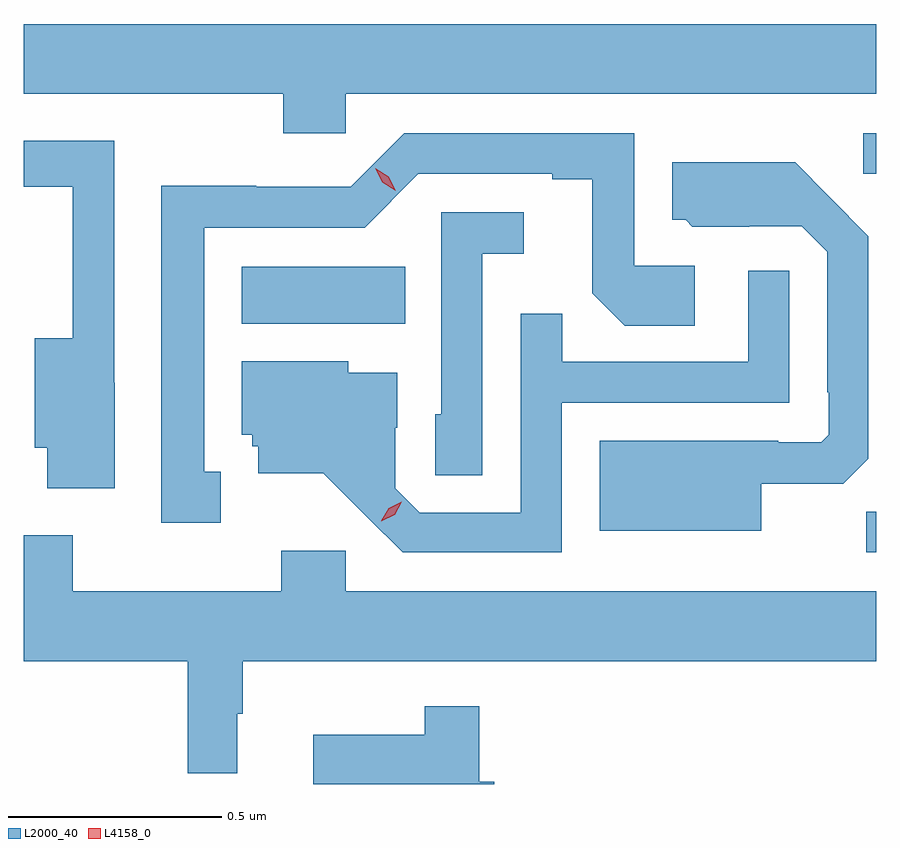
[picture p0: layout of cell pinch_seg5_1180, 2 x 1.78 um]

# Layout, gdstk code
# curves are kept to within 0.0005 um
import gdstk
lib = gdstk.Library(unit=1e-6, precision=1e-09)
def R(c, l, rs):  # rectangles x0, y0, x1, y1
    for r in rs: c.add(gdstk.rectangle(r[:2], r[2:], *l))
def P(c, l, *ps):  # polygons
    for p in ps: c.add(gdstk.Polygon(p, *l))
L2000_40 = (2000, 40)
L4158_0 = (4158, 0)

pinch_seg5_1180 = lib.new_cell('pinch_seg5_1180')
R(pinch_seg5_1180, L2000_40, [(770.428,839.7,770.451,839.795), (768.962,840.236,769.346,840.37), (770.421,840.588,770.451,840.684)])
P(pinch_seg5_1180, L2000_40, [(769.206,840.776),(770.451,840.776),(770.451,840.94),(768.451,840.94),(768.451,840.776),(769.06,840.776),(769.06,840.683),(769.206,840.683)],
  [(768.913,839.889),(768.874,839.889),(768.874,840.462),(769.251,840.462),(769.377,840.588),(769.691,840.588),(769.691,840.576),(769.785,840.576),(769.785,840.308),(769.861,840.232),(770.026,840.232),(770.026,840.372),(769.884,840.372),(769.884,840.684),(769.344,840.684),(769.218,840.558),(768.996,840.558),(768.996,840.56),(768.773,840.56),(768.773,839.769),(768.913,839.769)],
  [(768.664,840.098),(768.663,840.098),(768.663,840.666),(768.451,840.666),(768.451,840.558),(768.566,840.558),(768.566,840.202),(768.476,840.202),(768.476,839.945),(768.506,839.945),(768.506,839.85),(768.664,839.85)],
  [(770.182,839.861),(770.374,839.861),(770.433,839.92),(770.433,840.442),(770.261,840.616),(769.973,840.616),(769.973,840.48),(770.004,840.48),(770.02,840.464),(770.154,840.464),(770.154,840.465),(770.277,840.465),(770.337,840.405),(770.337,840.076),(770.34,840.076),(770.34,839.976),(770.322,839.958),(770.222,839.958),(770.222,839.962),(769.802,839.962),(769.802,839.75),(770.182,839.75)],
  [(769.527,840.401),(769.624,840.401),(769.624,840.498),(769.431,840.498),(769.431,840.024),(769.416,840.024),(769.416,839.881),(769.527,839.881)],
  [(769.713,840.051),(770.247,840.051),(770.247,840.361),(770.151,840.361),(770.151,840.147),(769.715,840.147),(769.715,840.26),(769.617,840.26),(769.617,839.793),(769.38,839.793),(769.323,839.85),(769.323,839.992),(769.327,839.992),(769.327,840.121),(769.212,840.121),(769.212,840.148),(768.962,840.148),(768.962,839.976),(768.987,839.976),(768.987,839.949),(769.001,839.949),(769.001,839.885),(769.153,839.885),(769.34,839.7),(769.713,839.7)],
  [(770.451,839.608),(769.206,839.608),(769.206,839.704),(769.055,839.704),(769.055,839.608),(768.566,839.608),(768.566,839.74),(768.451,839.74),(768.451,839.444),(768.835,839.444),(768.835,839.181),(768.952,839.181),(768.952,839.321),(768.964,839.321),(768.964,839.444),(770.451,839.444)],
  [(769.555,839.161),(769.52,839.161),(769.52,839.338),(769.392,839.338),(769.392,839.272),(769.13,839.272),(769.13,839.156),(769.555,839.156)])
P(pinch_seg5_1180, L4158_0, [(769.29,839.773),(769.29,839.774),(769.307,839.803),(769.338,839.818),(769.338,839.818),(769.338,839.818),(769.321,839.788),(769.29,839.773)],
  [(769.324,840.548),(769.292,840.568),(769.275,840.601),(769.275,840.601),(769.276,840.601),(769.307,840.581),(769.324,840.548),(769.324,840.548)])

lib.write_gds('pinch_seg5_1180.gds')
